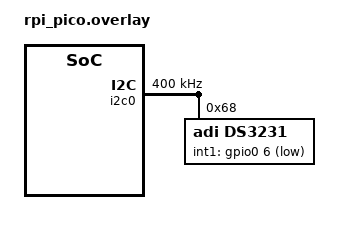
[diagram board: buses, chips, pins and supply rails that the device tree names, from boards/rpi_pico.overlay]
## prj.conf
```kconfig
CONFIG_I2C=y
CONFIG_SHELL=y
# CONFIG_I2C_SHELL=y
CONFIG_RTC=y
CONFIG_RTC_DS3231=y
CONFIG_RTC_ALARM=y
CONFIG_RTC_UPDATE=y
CONFIG_LOG=y
CONFIG_LOG_PRINTK=y
CONFIG_CONSOLE=y
CONFIG_UART_CONSOLE=y
CONFIG_RTC_LOG_LEVEL_DBG=y
CONFIG_REBOOT=y
# CONFIG_RTC_SHELL=y
```

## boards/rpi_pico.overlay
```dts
&i2c0{
	clock-frequency = <I2C_BITRATE_FAST>;
	status = "okay";
	pinctrl-0 = <&i2c0_default>;
	pinctrl-names = "default";
 ds3231:ds3231@68{
		compatible = "adi,ds3231";
		status = "okay";
		reg = <0x68>;
		int1-gpios = <&gpio0 6 (GPIO_ACTIVE_LOW)>;
		alarms-count=<2>;
	};
 };
```

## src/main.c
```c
#include <zephyr/shell/shell.h>
#include <zephyr/kernel.h>
#include <zephyr/drivers/rtc.h>
#include <zephyr/sys/printk.h>
#include <zephyr/logging/log.h>
#include <zephyr/sys/reboot.h>
#include <stdlib.h>
#include <zephyr/sys/timeutil.h>

LOG_MODULE_REGISTER(shell_app);
const struct device *dev;

static void rtc_alarm_callback_handler(const struct device *dev, uint16_t id,
						void *user_data)
{
	LOG_INF("Alarm ringing!!");
}

static int cmd_g_rtc_alarm_set(const struct shell *shell, size_t argc, char *argv[])
{
	// TODO need to accept alarm mask as input
	time_t timer_set = atoi(argv[2]);
	struct rtc_time alarm_t;
	gmtime_r(&timer_set, (struct tm *)(&alarm_t));
	shell_print(shell,"Setting alarm for %d-%d-%d %d  %d:%d:%d\n", alarm_t.tm_year + 1900,
		alarm_t.tm_mon + 1, alarm_t.tm_mday, alarm_t.tm_wday, alarm_t.tm_hour, alarm_t.tm_min,
		alarm_t.tm_sec);

	int ret, alarm_id;
	/* Print current time in RTC */
	struct rtc_time get_t;
	rtc_get_time(dev, &get_t);
        shell_print(shell,"Current date/time is %d-%d-%d   %d:%d:%d\n", get_t.tm_year + 1900,
		get_t.tm_mon + 1, get_t.tm_mday, get_t.tm_hour, get_t.tm_min, get_t.tm_sec);

	alarm_id = atoi(argv[1]);
	uint16_t alarm_time_mask_supported, alarm_time_mask_set;
	/* Get alarms supported fields */
	ret = rtc_alarm_get_supported_fields(dev, alarm_id, &alarm_time_mask_supported);
	/* Set alarm */
	alarm_time_mask_set = alarm_time_mask_supported;
	ret = rtc_alarm_set_time(dev, 0, alarm_time_mask_set, &alarm_t);

	/* Set callback function for alarm */
        shell_print(shell,"Setting callback alarm function now");
        rtc_alarm_set_callback(dev, alarm_id,
			       rtc_alarm_callback_handler, NULL);
	return 0;
}
static int cmd_g_rtc_alarm_get(const struct shell *shell, size_t argc, char *argv[])
{
	struct rtc_time get_t;
	rtc_alarm_get_time(dev, atoi(argv[1]), 0, &get_t);
	shell_print(shell,"Alarm set for date %d  time%d:%d:%d from now\n", get_t.tm_mday, get_t.tm_hour,
		get_t.tm_min, get_t.tm_sec);      
	return 0;
}
static int cmd_g_rtc_set(const struct shell *shell, size_t argc, char *argv[])
{
	time_t timer_set = atoi(argv[1]);
	struct rtc_time set_t;
	gmtime_r(&timer_set, (struct tm *)(&set_t));
	shell_print(shell,"Setting date/time as %d-%d-%d %d  %d:%d:%d\n", set_t.tm_year + 1900,
		set_t.tm_mon + 1, set_t.tm_mday, set_t.tm_wday, set_t.tm_hour, set_t.tm_min,
		set_t.tm_sec);

	int ret = rtc_set_time(dev, &set_t);
	if (ret != 0) {
		LOG_INF("Error setting time!!");
	}

	struct rtc_time get_t;
	rtc_get_time(dev, &get_t);
        shell_print(shell,"Date/time is %d-%d-%d %d  %d:%d:%d\n", get_t.tm_year + 1900, get_t.tm_mon + 1,
		get_t.tm_mday, get_t.tm_wday, get_t.tm_hour, get_t.tm_min, get_t.tm_sec);

	return 0;
}
static int cmd_g_rtc_get(const struct shell *shell, size_t argc, char *argv[])
{
	struct rtc_time get_t;
	rtc_get_time(dev, &get_t);
        shell_print(shell,"Date/time is %d-%d-%d   %d:%d:%d\n", get_t.tm_year + 1900, get_t.tm_mon + 1,
		get_t.tm_mday, get_t.tm_hour, get_t.tm_min, get_t.tm_sec);

	return 0;
}

SHELL_CMD_ARG_REGISTER(rtc_time_set, NULL, "Set RTC time (epoch)", cmd_g_rtc_set, 2, 0);
SHELL_CMD_ARG_REGISTER(rtc_time_get, NULL, "Get RTC time", cmd_g_rtc_get, 1, 0);
SHELL_CMD_ARG_REGISTER(rtc_alarm_set, NULL, "Set alarm id & time ", cmd_g_rtc_alarm_set, 3, 0);
SHELL_CMD_ARG_REGISTER(rtc_alarm_get, NULL, "Get alarm time set by id", cmd_g_rtc_alarm_get, 2, 0);

static const struct device *get_ds3231_device(void)
{
	const struct device *const dev = DEVICE_DT_GET_ANY(adi_ds3231);

	if (dev == NULL) {
		/* No such node, or the node does not have status "okay". */
		printk("\nError: no device found.\n");
		return NULL;
	}

	if (!device_is_ready(dev)) {
		printk("\nError: Device \"%s\" is not ready; "
		       "check the driver initialization logs for errors.\n",
		       dev->name);
		return NULL;
	}

	printk("Found device \"%s\", getting time\n", dev->name);
	return dev;
}

int main(void)
{
	/* Setup gpio forinterrupt */
	
	LOG_INF("Running DS3231 shell app on %s\n", CONFIG_BOARD);
	dev = get_ds3231_device();
	if (dev == NULL) {
		return 0;
	}
	/* struct rtc_time get_t; */
	while (1) {
		/* rtc_get_time(dev, &get_t); */
		/* LOG_INF("Current date/time is %d-%d-%d   %d:%d:%d\n", get_t.tm_year + 1900, */
		/* 	get_t.tm_mon + 1, get_t.tm_mday, get_t.tm_hour, get_t.tm_min, get_t.tm_sec);
		 */
		k_msleep(2000);
	}
	return 0;
}
```
